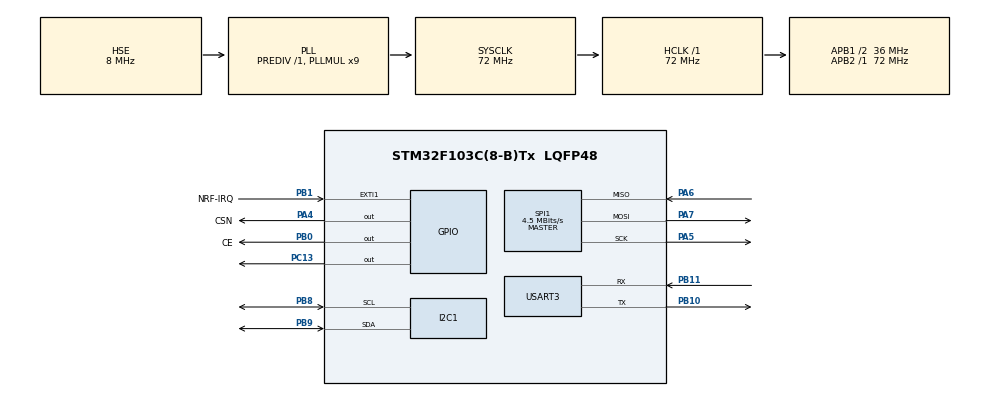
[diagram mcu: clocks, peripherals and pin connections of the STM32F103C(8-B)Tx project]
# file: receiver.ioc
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I2C1.I2C_Mode=I2C_Fast
Mcu.Family=STM32F1
Mcu.Name=STM32F103C(8-B)Tx
Mcu.Package=LQFP48
NVIC.EXTI1_IRQn=true\:2\:0\:true\:false\:true\:true\:true\:true
NVIC.PriorityGroup=NVIC_PRIORITYGROUP_4
NVIC.USART3_IRQn=true\:3\:0\:true\:false\:true\:true\:true\:true
PA13.Mode=Serial_Wire
PA13.Signal=SYS_JTMS-SWDIO
PA14.Mode=Serial_Wire
PA14.Signal=SYS_JTCK-SWCLK
PA4.GPIO_Label=CSN
PA4.GPIO_Speed=GPIO_SPEED_FREQ_HIGH
PA4.PinState=GPIO_PIN_SET
PA4.Signal=GPIO_Output
PA5.Mode=Full_Duplex_Master
PA5.Signal=SPI1_SCK
PA6.Mode=Full_Duplex_Master
PA6.Signal=SPI1_MISO
PA7.Mode=Full_Duplex_Master
PA7.Signal=SPI1_MOSI
PB0.GPIO_Label=CE
PB0.GPIO_Speed=GPIO_SPEED_FREQ_HIGH
PB0.Signal=GPIO_Output
PB1.GPIO_Label=NRF-IRQ
PB1.GPIO_ModeDefaultEXTI=GPIO_MODE_IT_FALLING
PB1.GPIO_PuPd=GPIO_PULLUP
PB1.Signal=GPXTI1
PB10.Mode=Asynchronous
PB10.Signal=USART3_TX
PB11.GPIO_PuPd=GPIO_PULLUP
PB11.Mode=Asynchronous
PB11.Signal=USART3_RX
PB8.GPIO_Speed=GPIO_SPEED_FREQ_HIGH
PB8.Mode=I2C
PB8.Signal=I2C1_SCL
PB9.Mode=I2C
PB9.Signal=I2C1_SDA
PC13-TAMPER-RTC.GPIO_ModeDefaultOutputPP=GPIO_MODE_OUTPUT_OD
PC13-TAMPER-RTC.GPIO_PuPd=GPIO_NOPULL
PC13-TAMPER-RTC.PinState=GPIO_PIN_SET
PC13-TAMPER-RTC.Signal=GPIO_Output
PD0-OSC_IN.Mode=HSE-External-Oscillator
PD0-OSC_IN.Signal=RCC_OSC_IN
PD1-OSC_OUT.Mode=HSE-External-Oscillator
PD1-OSC_OUT.Signal=RCC_OSC_OUT
ProjectManager.HeapSize=0x200
ProjectManager.StackSize=0x400
ProjectManager.TargetToolchain=MDK-ARM V5.32
RCC.AHBFreq_Value=72000000
RCC.APB1CLKDivider=RCC_HCLK_DIV2
RCC.APB1Freq_Value=36000000
RCC.APB1TimFreq_Value=72000000
RCC.APB2Freq_Value=72000000
RCC.APB2TimFreq_Value=72000000
RCC.HCLKFreq_Value=72000000
RCC.PLLMUL=RCC_PLL_MUL9
RCC.PLLSourceVirtual=RCC_PLLSOURCE_HSE
RCC.SYSCLKFreq_VALUE=72000000
RCC.SYSCLKSource=RCC_SYSCLKSOURCE_PLLCLK
RCC.USBFreq_Value=72000000
SPI1.BaudRatePrescaler=SPI_BAUDRATEPRESCALER_16
SPI1.CalculateBaudRate=4.5 MBits/s
SPI1.Direction=SPI_DIRECTION_2LINES
SPI1.Mode=SPI_MODE_MASTER
SPI1.VirtualType=VM_MASTER
USART3.VirtualMode=VM_ASYNC
board=custom

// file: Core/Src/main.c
/* USER CODE BEGIN Header */
/**
  ******************************************************************************
  * @file           : main.c
  * @brief          : Main program body
  ******************************************************************************
  * @attention
  *
  * Copyright (c) 2026 STMicroelectronics.
  * All rights reserved.
  *
  * This software is licensed under terms that can be found in the LICENSE file
  * in the root directory of this software component.
  * If no LICENSE file comes with this software, it is provided AS-IS.
  *
  ******************************************************************************
  */
/* USER CODE END Header */
#include "main.h"

/* USER CODE BEGIN Includes */
#include <stdio.h>
#include <string.h>
#include "OLED.h"
#include "nrf24l01.h"
#include "rc.h"
#include "msp.h"
#include "ibus.h"
/* USER CODE END Includes */

I2C_HandleTypeDef hi2c1;

SPI_HandleTypeDef hspi1;

UART_HandleTypeDef huart3;

void SystemClock_Config(void);
static void MX_GPIO_Init(void);
static void MX_I2C1_Init(void);
static void MX_SPI1_Init(void);
static void MX_USART3_UART_Init(void);

/* USER CODE BEGIN 0 */
static void Show_RC(void);
static void Show_Line4(void);
static uint8_t  nrf_ok    = 0;
static uint8_t  nrf_cfg   = 0;
static uint8_t  oled_ok   = 0;
static uint32_t show_tick = 0;
static uint32_t led_tick  = 0;
/* USER CODE END 0 */

int main(void)
{

  /* MCU Configuration--------------------------------------------------------*/

  /* Reset of all peripherals, Initializes the Flash interface and the Systick. */
  HAL_Init();

  /* Configure the system clock */
  SystemClock_Config();

  /* Initialize all configured peripherals */
  MX_GPIO_Init();
  MX_I2C1_Init();
  MX_SPI1_Init();
  MX_USART3_UART_Init();
  /* USER CODE BEGIN 2 */
  OLED_Init();                     /* OLED: hardware I2C1, slave 0x78 */

  /* NRF24L01: slow SPI down to 72/32 = 2.25 MHz for long dupont wires */
  hspi1.Init.BaudRatePrescaler = SPI_BAUDRATEPRESCALER_32;
  HAL_SPI_Init(&hspi1);
  oled_ok = (HAL_I2C_IsDeviceReady(&hi2c1, 0x78, 3U, 50U) == HAL_OK) ? 1U : 0U;

  /* Let the nRF24L01 supply settle before the presence check, then retry
     once: a module that is still booting would otherwise latch nrf_ok = 0. */
  HAL_Delay(20);
  nrf_ok = NRF24L01_Check();       /* 1 = NRF24L01 module present */
  if (!nrf_ok)
  {
    HAL_Delay(30);
    nrf_ok = NRF24L01_Check();
  }
  NRF24L01_Init(0);                /* start on channel 0 (ANO default) */
  RC_Init();
  MSP_Init();                      /* USART3 <-> F3 flight controller, MSP (attitude) */
  IBUS_Init();                     /* USART2 (PA2) -> F3 UART2, iBUS stick frames */
  Show_RC();
  /* USER CODE END 2 */

  /* Infinite loop */
  while (1)
  {

    /* USER CODE BEGIN 3 */
    RC_Task();                     /* receive + parse + auto channel scan */
    MSP_Task();                    /* attitude request/reply on USART3 */
    IBUS_Task();                   /* 100Hz stick frames to FC on USART2 */

    if ((HAL_GetTick() - show_tick) >= 100U)
    {
      show_tick = HAL_GetTick();
      Show_RC();
    }

    /* PC13 heartbeat: 1 Hz = OK, 4 Hz = OLED not answering on I2C */
    if ((HAL_GetTick() - led_tick) >= (oled_ok ? 500U : 125U))
    {
      led_tick = HAL_GetTick();
      HAL_GPIO_TogglePin(GPIOC, GPIO_PIN_13);
    }
  }
  /* USER CODE END 3 */
}

void SystemClock_Config(void)
{
  RCC_OscInitTypeDef RCC_OscInitStruct = {0};
  RCC_ClkInitTypeDef RCC_ClkInitStruct = {0};

  /** Initializes the RCC Oscillators according to the specified parameters
  * in the RCC_OscInitTypeDef structure.
  */
  RCC_OscInitStruct.OscillatorType = RCC_OSCILLATORTYPE_HSE;
  RCC_OscInitStruct.HSEState = RCC_HSE_ON;
  RCC_OscInitStruct.HSEPredivValue = RCC_HSE_PREDIV_DIV1;
  RCC_OscInitStruct.HSIState = RCC_HSI_ON;
  RCC_OscInitStruct.PLL.PLLState = RCC_PLL_ON;
  RCC_OscInitStruct.PLL.PLLSource = RCC_PLLSOURCE_HSE;
  RCC_OscInitStruct.PLL.PLLMUL = RCC_PLL_MUL9;
  if (HAL_RCC_OscConfig(&RCC_OscInitStruct) != HAL_OK)
  {
    Error_Handler();
  }

  /** Initializes the CPU, AHB and APB buses clocks
  */
  RCC_ClkInitStruct.ClockType = RCC_CLOCKTYPE_HCLK|RCC_CLOCKTYPE_SYSCLK
                              |RCC_CLOCKTYPE_PCLK1|RCC_CLOCKTYPE_PCLK2;
  RCC_ClkInitStruct.SYSCLKSource = RCC_SYSCLKSOURCE_PLLCLK;
  RCC_ClkInitStruct.AHBCLKDivider = RCC_SYSCLK_DIV1;
  RCC_ClkInitStruct.APB1CLKDivider = RCC_HCLK_DIV2;
  RCC_ClkInitStruct.APB2CLKDivider = RCC_HCLK_DIV1;

  if (HAL_RCC_ClockConfig(&RCC_ClkInitStruct, FLASH_LATENCY_2) != HAL_OK)
  {
    Error_Handler();
  }
}

static void MX_I2C1_Init(void)
{

  hi2c1.Instance = I2C1;
  hi2c1.Init.ClockSpeed = 400000;
  hi2c1.Init.DutyCycle = I2C_DUTYCYCLE_2;
  hi2c1.Init.OwnAddress1 = 0;
  hi2c1.Init.AddressingMode = I2C_ADDRESSINGMODE_7BIT;
  hi2c1.Init.DualAddressMode = I2C_DUALADDRESS_DISABLE;
  hi2c1.Init.OwnAddress2 = 0;
  hi2c1.Init.GeneralCallMode = I2C_GENERALCALL_DISABLE;
  hi2c1.Init.NoStretchMode = I2C_NOSTRETCH_DISABLE;
  if (HAL_I2C_Init(&hi2c1) != HAL_OK)
  {
    Error_Handler();
  }

}

static void MX_SPI1_Init(void)
{

  /* SPI1 parameter configuration*/
  hspi1.Instance = SPI1;
  hspi1.Init.Mode = SPI_MODE_MASTER;
  hspi1.Init.Direction = SPI_DIRECTION_2LINES;
  hspi1.Init.DataSize = SPI_DATASIZE_8BIT;
  hspi1.Init.CLKPolarity = SPI_POLARITY_LOW;
  hspi1.Init.CLKPhase = SPI_PHASE_1EDGE;
  hspi1.Init.NSS = SPI_NSS_SOFT;
  hspi1.Init.BaudRatePrescaler = SPI_BAUDRATEPRESCALER_16;
  hspi1.Init.FirstBit = SPI_FIRSTBIT_MSB;
  hspi1.Init.TIMode = SPI_TIMODE_DISABLE;
  hspi1.Init.CRCCalculation = SPI_CRCCALCULATION_DISABLE;
  hspi1.Init.CRCPolynomial = 10;
  if (HAL_SPI_Init(&hspi1) != HAL_OK)
  {
    Error_Handler();
  }

}

static void MX_USART3_UART_Init(void)
{

  huart3.Instance = USART3;
  huart3.Init.BaudRate = 115200;
  huart3.Init.WordLength = UART_WORDLENGTH_8B;
  huart3.Init.StopBits = UART_STOPBITS_1;
  huart3.Init.Parity = UART_PARITY_NONE;
  huart3.Init.Mode = UART_MODE_TX_RX;
  huart3.Init.HwFlowCtl = UART_HWCONTROL_NONE;
  huart3.Init.OverSampling = UART_OVERSAMPLING_16;
  if (HAL_UART_Init(&huart3) != HAL_OK)
  {
    Error_Handler();
  }

}

static void MX_GPIO_Init(void)
{
  GPIO_InitTypeDef GPIO_InitStruct = {0};

  /* GPIO Ports Clock Enable */
  __HAL_RCC_GPIOC_CLK_ENABLE();
  __HAL_RCC_GPIOD_CLK_ENABLE();
  __HAL_RCC_GPIOA_CLK_ENABLE();
  __HAL_RCC_GPIOB_CLK_ENABLE();

  /*Configure GPIO pin Output Level */
  HAL_GPIO_WritePin(GPIOC, GPIO_PIN_13, GPIO_PIN_SET);

  /*Configure GPIO pin Output Level */
  HAL_GPIO_WritePin(CSN_GPIO_Port, CSN_Pin, GPIO_PIN_SET);

  /*Configure GPIO pin Output Level */
  HAL_GPIO_WritePin(CE_GPIO_Port, CE_Pin, GPIO_PIN_RESET);

  /*Configure GPIO pin : PC13 */
  GPIO_InitStruct.Pin = GPIO_PIN_13;
  GPIO_InitStruct.Mode = GPIO_MODE_OUTPUT_OD;
  GPIO_InitStruct.Pull = GPIO_NOPULL;
  GPIO_InitStruct.Speed = GPIO_SPEED_FREQ_LOW;
  HAL_GPIO_Init(GPIOC, &GPIO_InitStruct);

  /*Configure GPIO pin : CSN_Pin */
  GPIO_InitStruct.Pin = CSN_Pin;
  GPIO_InitStruct.Mode = GPIO_MODE_OUTPUT_PP;
  GPIO_InitStruct.Pull = GPIO_NOPULL;
  GPIO_InitStruct.Speed = GPIO_SPEED_FREQ_HIGH;
  HAL_GPIO_Init(CSN_GPIO_Port, &GPIO_InitStruct);

  /*Configure GPIO pin : CE_Pin */
  GPIO_InitStruct.Pin = CE_Pin;
  GPIO_InitStruct.Mode = GPIO_MODE_OUTPUT_PP;
  GPIO_InitStruct.Pull = GPIO_NOPULL;
  GPIO_InitStruct.Speed = GPIO_SPEED_FREQ_HIGH;
  HAL_GPIO_Init(CE_GPIO_Port, &GPIO_InitStruct);

  /*Configure GPIO pin : NRF_IRQ_Pin */
  GPIO_InitStruct.Pin = NRF_IRQ_Pin;
  GPIO_InitStruct.Mode = GPIO_MODE_IT_FALLING;
  GPIO_InitStruct.Pull = GPIO_PULLUP;
  HAL_GPIO_Init(NRF_IRQ_GPIO_Port, &GPIO_InitStruct);

  /* EXTI interrupt init*/
  HAL_NVIC_SetPriority(EXTI1_IRQn, 2, 0);
  HAL_NVIC_EnableIRQ(EXTI1_IRQn);

}

/* USER CODE BEGIN 4 */
/**
  * @brief  Refresh RC data on OLED (4 lines x 16 chars)
  *         line1: link status + channel
  *         line2: THR / YAW   line3: ROL / PIT
  *         line4: F3 attitude (2 s) / AUX1 + battery / RF counters, see Show_Line4()
  */
static void Show_RC(void)
{
  /* Live SPI probe first: 0x00 / 0xFF means the module is not answering at
     all. Any other value (0x0E / 0x0F ...) proves the module answers *now*,
     so a failed one-shot boot check must not keep showing "ER" for ever. */
  nrf_cfg = NRF24L01_ReadRegister(NRF_CONFIG);

  if ((nrf_cfg == 0x00U) || (nrf_cfg == 0xFFU))
  {
    nrf_ok = 0U;
    OLED_ShowString(1, 1, "ER ");
  }
  else
  {
    nrf_ok = 1U;
    if (RC_IsOnline()) OLED_ShowString(1, 1, "RC ");
    else               OLED_ShowString(1, 1, "NO ");
  }

  OLED_ShowString(1, 4, "C:");
  OLED_ShowHexNum(1, 6, nrf_cfg, 2);
  OLED_ShowString(1, 9, "CH:");
  OLED_ShowNum(1, 12, (uint32_t)NRF24L01_GetChannel(), 3);
  OLED_ShowString(1, 15, "M");
  OLED_ShowNum(1, 16, (uint32_t)RC_GetPayloadMode(), 1);

  OLED_ShowString(2, 1, "T:");
  OLED_ShowNum(2, 3, (uint32_t)Rc.thr, 4);
  OLED_ShowString(2, 8, "Y:");
  OLED_ShowNum(2, 10, (uint32_t)Rc.yaw, 4);

  OLED_ShowString(3, 1, "R:");
  OLED_ShowNum(3, 3, (uint32_t)Rc.rol, 4);
  OLED_ShowString(3, 8, "P:");
  OLED_ShowNum(3, 10, (uint32_t)Rc.pit, 4);

  Show_Line4();
}

/**
  * @brief  Line 4, alternates every 2 s:
  *           phase 0 and F3 answering -> attitude  R+12 P-03 Y123
  *           otherwise                -> AUX1 / battery, or RF counters
  *         Whole 16 chars are always rewritten so no stale text is left over.
  */
static void Show_Line4(void)
{
  char    s[17];
  int16_t r, p, y;
  int     i;
  uint8_t phase = (uint8_t)((HAL_GetTick() / 2000U) & 1U);

  if (MSP_AttValid() && (phase == 0U))
  {
    MSP_GetAttitude(&r, &p, &y);
    r = (int16_t)(r / 10);         /* 0.1 deg -> deg */
    p = (int16_t)(p / 10);
    if (r >  99) { r =  99; }
    if (r < -99) { r = -99; }
    if (p >  99) { p =  99; }
    if (p < -99) { p = -99; }
    (void)sprintf(s, "R%+3d P%+3d Y%3d", (int)r, (int)p, (int)y);
  }
  else if (RC_IsOnline())
  {
    (void)sprintf(s, "A1:%4d B:%2d", (int)Rc.aux[0], (int)(Rc.aux[4] / 100));
  }
  else
  {
    (void)sprintf(s, "RF:%4lu S:%02X", (unsigned long)NRF24L01_GetRxEvents(),
                  (unsigned)NRF24L01_GetLastStatus());
  }

  for (i = (int)strlen(s); i < 16; i++) { s[i] = ' '; }
  s[16] = '\0';
  OLED_ShowString(4, 1, s);
}
/* USER CODE END 4 */

void Error_Handler(void)
{
  /* USER CODE BEGIN Error_Handler_Debug */
  /* Fast blink on PC13 at register level: works even if the clock setup failed.
     Means: HSE/PLL or a peripheral init failed -> CPU never reaches main loop. */
  RCC->APB2ENR |= RCC_APB2ENR_IOPCEN;
  GPIOC->CRH &= ~(0xFU << 20);
  GPIOC->CRH |=  (0x6U << 20);
  for (;;)
  {
    GPIOC->BSRR = GPIO_BSRR_BR13;
    for (volatile uint32_t i = 0; i < 100000U; i++) { __NOP(); }
    GPIOC->BSRR = GPIO_BSRR_BS13;
    for (volatile uint32_t i = 0; i < 100000U; i++) { __NOP(); }
  }
  /* USER CODE END Error_Handler_Debug */
}
